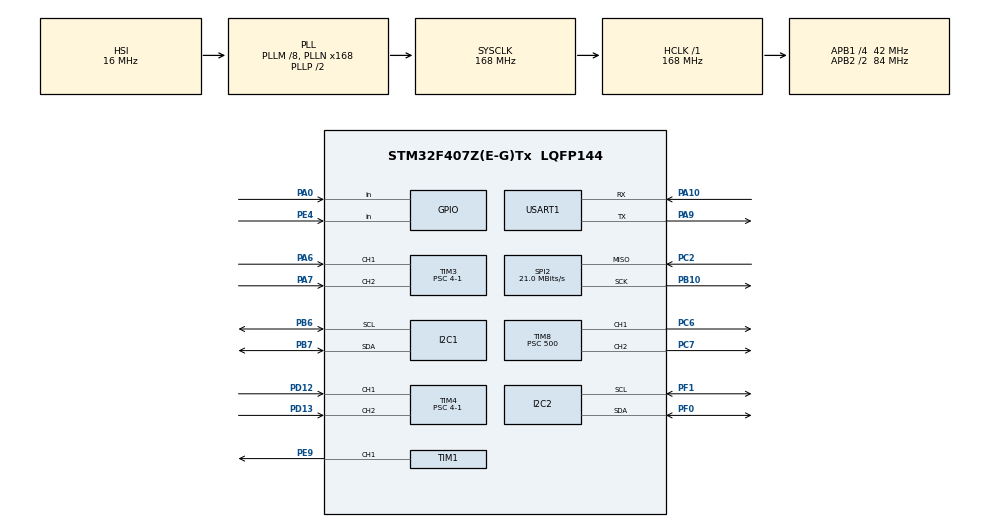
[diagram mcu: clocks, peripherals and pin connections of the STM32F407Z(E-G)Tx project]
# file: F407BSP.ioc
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I2C1.I2C_Mode=I2C_Standard
I2C1.OwnAddress=0x3C
I2C2.I2C_Mode=I2C_Fast
I2C2.OwnAddress=0x75
Mcu.Family=STM32F4
Mcu.Name=STM32F407Z(E-G)Tx
Mcu.Package=LQFP144
NVIC.PriorityGroup=NVIC_PRIORITYGROUP_4
PA0-WKUP.Signal=GPIO_Input
PA10.Mode=Asynchronous
PA10.Signal=USART1_RX
PA13.Mode=Serial_Wire
PA13.Signal=SYS_JTMS-SWDIO
PA14.Mode=Serial_Wire
PA14.Signal=SYS_JTCK-SWCLK
PA6.GPIO_PuPd=GPIO_PULLUP
PA6.Signal=S_TIM3_CH1
PA7.GPIO_PuPd=GPIO_PULLUP
PA7.Signal=S_TIM3_CH2
PA9.Mode=Asynchronous
PA9.Signal=USART1_TX
PB10.Mode=RX_Only_Simplex_Unidirect_Master
PB10.Signal=SPI2_SCK
PB6.Mode=I2C
PB6.Signal=I2C1_SCL
PB7.Mode=I2C
PB7.Signal=I2C1_SDA
PC14-OSC32_IN.Mode=LSE-External-Oscillator
PC14-OSC32_IN.Signal=RCC_OSC32_IN
PC15-OSC32_OUT.Mode=LSE-External-Oscillator
PC15-OSC32_OUT.Signal=RCC_OSC32_OUT
PC2.Mode=RX_Only_Simplex_Unidirect_Master
PC2.Signal=SPI2_MISO
PC6.Signal=S_TIM8_CH1
PC7.Signal=S_TIM8_CH2
PD12.Signal=S_TIM4_CH1
PD13.Signal=S_TIM4_CH2
PE4.Signal=GPIO_Input
PE9.Signal=S_TIM1_CH1
PF0.Mode=I2C
PF0.Signal=I2C2_SDA
PF1.Mode=I2C
PF1.Signal=I2C2_SCL
PH0-OSC_IN.Mode=HSE-External-Oscillator
PH0-OSC_IN.Signal=RCC_OSC_IN
PH1-OSC_OUT.Mode=HSE-External-Oscillator
PH1-OSC_OUT.Signal=RCC_OSC_OUT
ProjectManager.HeapSize=0x200
ProjectManager.StackSize=0x400
ProjectManager.TargetToolchain=MDK-ARM V5.27
RCC.48MHZClocksFreq_Value=84000000
RCC.AHBFreq_Value=168000000
RCC.APB1CLKDivider=RCC_HCLK_DIV4
RCC.APB1Freq_Value=42000000
RCC.APB1TimFreq_Value=84000000
RCC.APB2CLKDivider=RCC_HCLK_DIV2
RCC.APB2Freq_Value=84000000
RCC.APB2TimFreq_Value=168000000
RCC.CortexFreq_Value=168000000
RCC.HCLKFreq_Value=168000000
RCC.HSE_VALUE=25000000
RCC.HSI_VALUE=16000000
RCC.PLLM=8
RCC.PLLN=168
RCC.SYSCLKFreq_VALUE=168000000
RCC.SYSCLKSource=RCC_SYSCLKSOURCE_PLLCLK
RCC.VCOOutputFreq_Value=336000000
SH.S_TIM1_CH1.0=TIM1_CH1,PWM Generation1 CH1
SH.S_TIM3_CH1.0=TIM3_CH1,Encoder_Interface
SH.S_TIM3_CH2.0=TIM3_CH2,Encoder_Interface
SH.S_TIM4_CH1.0=TIM4_CH1,Encoder_Interface
SH.S_TIM4_CH2.0=TIM4_CH2,Encoder_Interface
SH.S_TIM8_CH1.0=TIM8_CH1,PWM Generation1 CH1
SH.S_TIM8_CH2.0=TIM8_CH2,PWM Generation2 CH2
SPI2.CalculateBaudRate=21.0 MBits/s
SPI2.Direction=SPI_DIRECTION_2LINES_RXONLY
SPI2.Mode=SPI_MODE_MASTER
SPI2.VirtualType=VM_MASTER
TIM1.Channel-PWM\ Generation1\ CH1=TIM_CHANNEL_1
TIM3.EncoderMode=TIM_ENCODERMODE_TI12
TIM3.Period=65535
TIM3.Prescaler=4-1
TIM4.EncoderMode=TIM_ENCODERMODE_TI12
TIM4.Prescaler=4-1
TIM8.Channel-PWM\ Generation1\ CH1=TIM_CHANNEL_1
TIM8.Channel-PWM\ Generation2\ CH2=TIM_CHANNEL_2
TIM8.Period=2000
TIM8.Prescaler=500
TIM8.Pulse-PWM\ Generation1\ CH1=1000
TIM8.Pulse-PWM\ Generation2\ CH2=1000
USART1.VirtualMode=VM_ASYNC
VP_TIM1_VS_ClockSourceINT.Mode=Internal
VP_TIM8_VS_ClockSourceINT.Mode=Internal
board=custom

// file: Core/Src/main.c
/* USER CODE BEGIN Header */
/**
  ******************************************************************************
  * @file           : main.c
  * @brief          : Main program body
  ******************************************************************************
  * @attention
  *
  * <h2><center>&copy; Copyright (c) 2021 STMicroelectronics.
  * All rights reserved.</center></h2>
  *
  * This software component is licensed by ST under BSD 3-Clause license,
  * the "License"; You may not use this file except in compliance with the
  * License. You may obtain a copy of the License at:
  *                        opensource.org/licenses/BSD-3-Clause
  *
  ******************************************************************************
  */
  /* USER CODE END Header */
  /* Includes ------------------------------------------------------------------*/
#include "main.h"
#include "i2c.h"
#include "spi.h"
#include "tim.h"
#include "usart.h"
#include "gpio.h"
#include "math.h"

/* USER CODE BEGIN Includes */
#include <stdio.h>
#include <stdlib.h>
#include <stdint.h>
#include <string.h>

/*******************/
#include "hmc5883l.h"
#include "mpu9250.h"
#include "encoder.h"
#include "pwmout.h"
/* USER CODE END Includes */

/* USER CODE BEGIN PTD */
int fputc(int ch, FILE* f)
{
  uint32_t temp = ch;
  HAL_UART_Transmit(&huart1, (uint8_t*)&temp, 1, 1000);
  return ch;
}
/* USER CODE END PTD */

/* USER CODE BEGIN PV */
uint8_t MODE;
/* USER CODE END PV */

void SystemClock_Config(void);
/* USER CODE BEGIN PFP */
void PWM_Control_Init(void);
void Encoder_Init(void);
void Calculate_Init(void);

void Task_problem(void);
void Task_scan_button(void);
void Task_Idle(void);

void rotate_board(void);
void stable_board(void);
void pid_stable_board(void);
/* USER CODE END PFP */

/* USER CODE BEGIN 0 */

//基本算法初始化
void Calculate_Init(void)
{
  PID_param_init();
}

//编码器驱动测试
void test_TIM_Encoder(void)
{
  uint32_t enc1 = 0;
  enc1 = (uint32_t)(__HAL_TIM_GET_COUNTER(&htim3)); //获取编码器的值
  printf("%d", enc1);
}

//六轴驱动测试
void test_mpu9250(void)
{
  int16_t my_test_buffer[9] = { 0 };

  MPU9250_ReadAccelerateData();
  MPU9250_ReadGYROData();
  MPU9250_ReadMagneticData();
  MPU9250_Output(my_test_buffer);

  printf("%d,%d,%d\r\n", my_test_buffer[0], my_test_buffer[3], my_test_buffer[6]);
}

//混合测试
void test_mixed(void)
{
  PWM_Rotate(__HAL_TIM_IS_TIM_COUNTING_DOWN(&htim3));
}
/* USER CODE END 0 */

int main(void)
{

  /* MCU Configuration--------------------------------------------------------*/

  /* Reset of all peripherals, Initializes the Flash interface and the Systick. */
  HAL_Init();

  /* Configure the system clock */
  SystemClock_Config();

  /* Initialize all configured peripherals */
  MX_GPIO_Init();
  MX_I2C1_Init();
  MX_SPI2_Init();
  MX_TIM1_Init();
  MX_TIM3_Init();
  MX_TIM8_Init();
  MX_USART1_UART_Init();
  MX_I2C2_Init();
  MX_TIM4_Init();
  /* USER CODE BEGIN 2 */
  MPU9250_Init(); //六轴初始化
  PWM_Control_Init(); //步进电机初始化
  Encoder_Init(); //编码器初始化
  Calculate_Init(); //算法初始化
  /* USER CODE END 2 */

  /* Infinite loop */
  while (1)
  {
    Task_scan_button();
	  test_mpu9250();
    //Task_problem();
  }
}

void SystemClock_Config(void)
{
  RCC_OscInitTypeDef RCC_OscInitStruct = { 0 };
  RCC_ClkInitTypeDef RCC_ClkInitStruct = { 0 };

  /** Configure the main internal regulator output voltage
  */
  __HAL_RCC_PWR_CLK_ENABLE();
  __HAL_PWR_VOLTAGESCALING_CONFIG(PWR_REGULATOR_VOLTAGE_SCALE1);
  /** Initializes the RCC Oscillators according to the specified parameters
  * in the RCC_OscInitTypeDef structure.
  */
  RCC_OscInitStruct.OscillatorType = RCC_OSCILLATORTYPE_HSI;
  RCC_OscInitStruct.HSIState = RCC_HSI_ON;
  RCC_OscInitStruct.HSICalibrationValue = RCC_HSICALIBRATION_DEFAULT;
  RCC_OscInitStruct.PLL.PLLState = RCC_PLL_ON;
  RCC_OscInitStruct.PLL.PLLSource = RCC_PLLSOURCE_HSI;
  RCC_OscInitStruct.PLL.PLLM = 8;
  RCC_OscInitStruct.PLL.PLLN = 168;
  RCC_OscInitStruct.PLL.PLLP = RCC_PLLP_DIV2;
  RCC_OscInitStruct.PLL.PLLQ = 4;
  if (HAL_RCC_OscConfig(&RCC_OscInitStruct) != HAL_OK)
  {
    Error_Handler();
  }
  /** Initializes the CPU, AHB and APB buses clocks
  */
  RCC_ClkInitStruct.ClockType = RCC_CLOCKTYPE_HCLK | RCC_CLOCKTYPE_SYSCLK
    | RCC_CLOCKTYPE_PCLK1 | RCC_CLOCKTYPE_PCLK2;
  RCC_ClkInitStruct.SYSCLKSource = RCC_SYSCLKSOURCE_PLLCLK;
  RCC_ClkInitStruct.AHBCLKDivider = RCC_SYSCLK_DIV1;
  RCC_ClkInitStruct.APB1CLKDivider = RCC_HCLK_DIV4;
  RCC_ClkInitStruct.APB2CLKDivider = RCC_HCLK_DIV2;

  if (HAL_RCC_ClockConfig(&RCC_ClkInitStruct, FLASH_LATENCY_5) != HAL_OK)
  {
    Error_Handler();
  }
}

/* USER CODE BEGIN 4 */
void Task_problem(void)
{
  if (MODE == 1) //摆杆旋转模式
  {
    rotate_board();
  }
  else if (MODE == 2) //硬币模式1
  {
    stable_board();
  }
  else if (MODE == 3) //硬币模式2
  {
    pid_stable_board();
  }
  else //MODE == 0
  {
    Task_Idle();
  }

  switch (MODE)
  {
  case 1:
    printf("rotate\r\n");
    break;
  case 2:
    printf("coin_mode_a\r\n");
    break;
  case 3:
    printf("coin_mode_b\r\n");
    break;
  case 0:
    break;
  default:
    break;
  }
}

void Task_scan_button(void)
{
  if ((HAL_GPIO_ReadPin(GPIOE, GPIO_PIN_4) == RESET) || (HAL_GPIO_ReadPin(GPIOA, GPIO_PIN_0) == RESET))
  {
    HAL_Delay(5);
    if (HAL_GPIO_ReadPin(GPIOE, GPIO_PIN_4) == RESET)
    {
      if (MODE == 3)
      {
        MODE = 0;
      }
      else
      {
        MODE++;
      }
    }
    else if (HAL_GPIO_ReadPin(GPIOA, GPIO_PIN_0) == RESET)
    {
      if (MODE == 0)
      {
        MODE = 3;
      }
      else
      {
        MODE--;
      }
    }
  }
}

//停止输出，复位
void Task_Idle(void)
{
  PWM_Control_Stop();
}

/**
  第一题
3-5个周期内，
摆杆每摆一个周期，平板旋转一周
偏差绝对值不大于45度
*/
void rotate_board(void)
{
  uint8_t count;
  volatile uint8_t last;
  while (count == 5)
  {
    if (Encoder_GetDirection() != last) //检测到反转，则算作一个周期
    {
      count++;
      last = Encoder_GetDirection();
      PWM_Rotate(360);
    }
  }
}

/**
  第二题
让平板保持水平
摆角是多少，步进电机就转多少
*/
void stable_board(void)
{
  PWM_Rotate(Encoder_Get_Angle());
}

/**
  第三题
使用PID算法让平板尽量保证水平
先预测摆角再让步进电机转动
*/
void pid_stable_board(void)
{
  PWM_Rotate(PID_realize(Encoder_Get_Angle()));
}

/**
    发挥部分1
经过数学计算得到
应使平板转动4/9 theta
靠近平衡位置-正转
远离平衡位置-反转
*/
void laser_pointer_rotate(void)
{
  float THETA = Encoder_Get_Angle();
  if (Encoder_GetDirection() < 0)
  {
    PWM_Rotate(THETA += atan((100 - 100 * cos(THETA)) / (150 - 100 * sin(THETA))));
  }
  else
  {
    PWM_Rotate(THETA += atan((100 - 100 * cos(THETA)) / (150 + 100 * sin(THETA))));
  }
}
/*
volatile float PID_Realize(volatile float laser_pointer_rotate)
{
  pid.target_val = laser_pointer_rotate;
  pid.err = pid.target_val - pid.actual_val;
  volatile float incrementAngle = pid.Kp * (pid.err - pid.err_next) + pid.Ki * pid.err + pid.Kd * (pid.err - 2 * pid.err_next + pid.err_last);
  pid.actual_val += incrementAngle;
  pid.err_last = pid.err_next;
  pid.err_next = pid.err;
  return pid.actual_val;
}
void pid_laser_pointer_rotate(void)
{

  volatile float theta = 0;
  uint8_t flag = 0;
  if (flag == 0) //靠近平衡位置
  {
    pid_laser_pointer_rotate();
  }
  else
  {
    pid_laser_pointer_rotate();
  }

}

*/

/* USER CODE END 4 */

void Error_Handler(void)
{
  __disable_irq();
  while (1)
  {
  }
}

/************************ (C) COPYRIGHT STMicroelectronics *****END OF FILE****/
